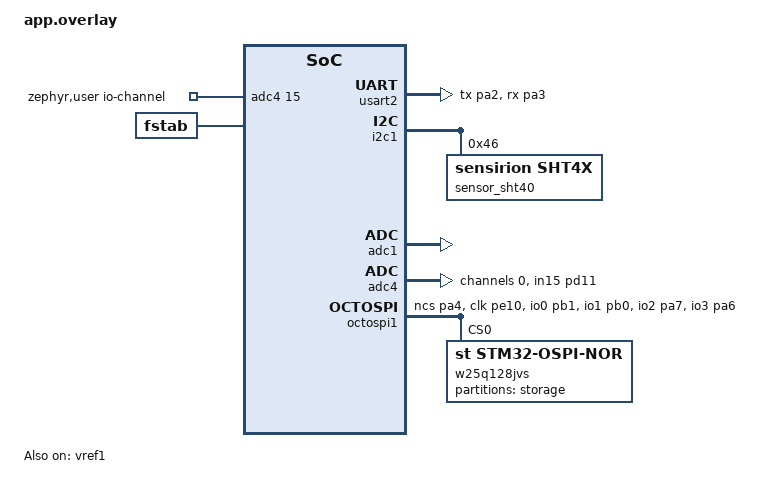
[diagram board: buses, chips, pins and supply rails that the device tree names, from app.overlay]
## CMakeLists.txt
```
cmake_minimum_required(VERSION 3.20.0)

set(BOARD_ROOT ${CMAKE_CURRENT_SOURCE_DIR})

set(BOARD stm32u575vgtx_custom)

set(EXTRA_CONF_FILE fs.conf)
#set(EXTRA_CONF_FILE usb.conf)
find_package(Zephyr)

project(hello_world)
include_directories(include)


target_sources(app PRIVATE 
    src/main.c
    src/sensor_sht40_test.c
    src/analog_temp_test.c
)
```

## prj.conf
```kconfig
#CONFIG_SERIAL_SUPPORT_ASYNC=y
#CONFIG_UART_STM32=y

CONFIG_LOG=y
CONFIG_CONSOLE=y
CONFIG_UART_STM32=y

CONFIG_UART_INTERRUPT_DRIVEN=y
CONFIG_UART_LINE_CTRL=y



CONFIG_SHELL=y
CONFIG_I2C=y
CONFIG_I2C_SHELL=y
CONFIG_SENSOR=y
CONFIG_CBPRINTF_FP_SUPPORT=y
CONFIG_SENSOR_LOG_LEVEL_DBG=y


CONFIG_ADC=y



CONFIG_REBOOT=y




# Configuring the devce flash

CONFIG_FLASH_STM32_OSPI=y
```

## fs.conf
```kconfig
CONFIG_LOG=y
CONFIG_SHELL=y
CONFIG_FLASH=y
CONFIG_FLASH_MAP=y
CONFIG_FILE_SYSTEM=y
CONFIG_FILE_SYSTEM_SHELL=y
CONFIG_FILE_SYSTEM_LITTLEFS=y

#CONFIG_SYSTEM_WORKQUEUE_STACK_SIZE=2304


# Enable file system commands
# CONFIG_MCUMGR_GRP_FS=y
CONFIG_FLASH_PAGE_LAYOUT=y
CONFIG_FS_LOG_LEVEL_DBG=y
CONFIG_HEAP_MEM_POOL_SIZE=16384
CONFIG_SHELL_LOG_LEVEL_INF=y
CONFIG_SHELL_LOG_LEVEL_DBG=y

CONFIG_DEBUG=y

CONFIG_FLASH_SHELL=y
CONFIG_FLASH_SHELL_TEST_COMMANDS=y
CONFIG_MPU_ALLOW_FLASH_WRITE=y
#CONFIG_APP_WIPE_STORAGE=y
```

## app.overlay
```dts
/ {

    chosen {
        //zephyr,console = &cdc_acm_uart0;
        //zephyr,shell-uart = &cdc_acm_uart0;

        zephyr,console = &usart2;
        zephyr,shell-uart= &usart2;



    };

    zephyr,user {
        io-channels = <&adc4 15>;
    };



    aliases {
        led0 = &blue_led_1;
        led1 = &green_led_1;
        led2 = &red_led_1;

    };

    fstab {
        compatible = "zephyr,fstab";
        status = "okay";
        lfs1: lfs1 {
            compatible = "zephyr,fstab,littlefs";
            status = "okay";
            read-size = <32>;
            prog-size = <32>;
            cache-size = <256>;
            lookahead-size = <64>;
            block-cycles = <512>;
            partition = <&storage_partition>;
            mount-point = "/lfs1";
            //automount;
        };
    };

};

&vref1 {
    status = "okay";
};

&zephyr_udc0 {
    status = "disabled";
    cdc_acm_uart0: cdc_acm_uart0_ {
        compatible = "zephyr,cdc-acm-uart";
    };
};

&i2c1_scl_pb6 {
    bias-pull-up;
};
&i2c1_sda_pb7 {
    bias-pull-up;
};


&usart2{
     status="okay";
     pinctrl-0 = <&usart2_tx_pa2>, <&usart2_rx_pa3>;

};

&i2c1 {
    status = "okay";

    sensor_sht40: sensor_sht40@44 {
        status = "okay";
        compatible = "sensirion,sht4x";
        reg = <0x46>;
        repeatability = <2>;
    };

};


&adc1 {
    status = "okay";
};
&adc4 {
    status = "okay";
    pinctrl-0 = <&adc4_in15_pd11>;
    #address-cells = <1>;
    #size-cells = <0>;
    channel@14 {
        reg = <0>;
        zephyr,gain = "ADC_GAIN_1";
        zephyr,reference = "ADC_REF_INTERNAL";
        //zephyr,vref-mv = <750>;
        zephyr,acquisition-time = <ADC_ACQ_TIME_DEFAULT>;
        zephyr,resolution = <12>;
        //zephyr,oversampling = <4>;
    };
};


&octospi1 {
    status = "okay";
    pinctrl-0 =<&octospim_p1_ncs_pa4
    &octospim_p1_clk_pe10
    &octospim_p1_io0_pb1
    &octospim_p1_io1_pb0
    &octospim_p1_io2_pa7
    &octospim_p1_io3_pa6>;
    
    pinctrl-names = "default";
    
    w25q128jvs: ospi-nor-flash@0 {
        compatible = "st,stm32-ospi-nor";
        reg = <0>;
        size = <DT_SIZE_M(64)>; /* 512 Mbits */
        data-rate = <OSPI_STR_TRANSFER>; /* access in DTR */
        ospi-max-frequency = <DT_FREQ_M(6)>;
        spi-bus-width=<OSPI_QUAD_MODE>;
        jedec-id= [ EF 40 17 ];
        status = "okay";
        //four-byte-opcodes;
        partitions {
            compatible = "fixed-partitions";
            #address-cells = <0x1>;
            #size-cells = <0x1>;
            storage_partition: partition@0 {
                label = "storage";
                reg = <0x0 DT_SIZE_K(20)>;
                /*phandle = <0x19>;*/
            };
        };
    };
};

/**OCTOSPI1 GPIO Configuration
PE10     ------> OCTOSPIM_P1_CLK
PA4     ------> OCTOSPIM_P1_NCS
PA6     ------> OCTOSPIM_P1_IO3
PA7     ------> OCTOSPIM_P1_IO2
PB0     ------> OCTOSPIM_P1_IO1
PB1     ------> OCTOSPIM_P1_IO0
 */
```

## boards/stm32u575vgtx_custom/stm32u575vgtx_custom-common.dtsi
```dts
/*
 * Copyright (c) 2021 Linaro Limited
 * Copyright (c) 2024 STMicroelectronics
 *
 * SPDX-License-Identifier: Apache-2.0
 */
#include <st/u5/stm32u575Xi.dtsi>
#include <st/u5/stm32u575vgtx-pinctrl.dtsi>
#include <zephyr/dt-bindings/input/input-event-codes.h>

/ {
	leds: leds {
		compatible = "gpio-leds";
		green_led_1: led_1 {
			gpios = <&gpiob 8 GPIO_ACTIVE_HIGH>;
			label = "User LD1";
		};
		blue_led_1: led_2 {
			gpios = <&gpiob 9 GPIO_ACTIVE_HIGH>;
			label = "User LD2";
		};
		red_led_1: led_3 {
			gpios = <&gpiob 10 GPIO_ACTIVE_HIGH>;
			label = "User LD3";
		};
	};

	gpio_keys {
		compatible = "gpio-keys";
		user_button: button {
			label = "User";
			gpios = <&gpioc 13 GPIO_ACTIVE_HIGH>;
			zephyr,code = <INPUT_KEY_0>;
		};
	};

	pwmleds: pwmleds {
		compatible = "pwm-leds";
		status = "disabled";

		pwm_led_1: green_led_1 {
			pwms = <&pwm3 2 PWM_MSEC(20) PWM_POLARITY_NORMAL>;
			label = "green led";
		};

		pwm_led_2: blue_led_1 {
			pwms = <&pwm4 2 PWM_MSEC(20) PWM_POLARITY_NORMAL>;
			label = "blue led";
		};
	};
};

&clk_hsi48 {
	status = "okay";
};

&clk_lse {
	status = "disabled";
};

&clk_msis {
	status = "okay";
	msi-range = <4>;
	msi-pll-mode;
};

&pll1 {
	div-m = <1>;
	mul-n = <80>;
	div-q = <2>;
	div-r = <2>;
	clocks = <&clk_msis>;
	status = "okay";
};

&rcc {
	clocks = <&pll1>;
	clock-frequency = <DT_FREQ_M(160)>;
	ahb-prescaler = <1>;
	apb1-prescaler = <1>;
	apb2-prescaler = <1>;
	apb3-prescaler = <1>;
};

&lpuart1 {
	pinctrl-0 = <&lpuart1_tx_pc1 &lpuart1_rx_pc0>;
	pinctrl-names = "default";
	current-speed = <115200>;
	status = "okay";
};

&usart2 {
	pinctrl-0 = <&usart2_tx_pd5 &usart2_rx_pd6>;
	pinctrl-names = "default";
	current-speed = <115200>;
	status = "okay";
};

&i2c1 {
	pinctrl-0 = <&i2c1_scl_pb6 &i2c1_sda_pb7>;
	pinctrl-names = "default";
	status = "okay";
	clock-frequency = <I2C_BITRATE_FAST>;
};

/*&i2c2 {
	pinctrl-0 = <&i2c2_scl_pf1 &i2c2_sda_pf0>;
	pinctrl-names = "default";
	status = "okay";
	clock-frequency = <I2C_BITRATE_FAST>;
};*/

&spi1 {
	pinctrl-0 = <&spi1_nss_pa4 &spi1_sck_pa5
		     &spi1_miso_pa6 &spi1_mosi_pa7>;
	pinctrl-names = "default";
	status = "okay";
};

&dac1 {
	/* CAUTION: DAC on PA4 may conflict with SPI1 NSS on same pin */
	pinctrl-0 = <&dac1_out1_pa4>;
	pinctrl-names = "default";
	status = "disabled";
};

&adc1 {
	pinctrl-0 = <&adc1_in1_pc0>;
	pinctrl-names = "default";
	//st,adc-clock-source = <ASYNC>;
	st,adc-prescaler = <4>;
	status = "disabled";
};

&adc4 {
	pinctrl-0 = <&adc4_in18_pb0>;
	pinctrl-names = "default";
	//st,adc-clock-source = <ASYNC>;
	st,adc-prescaler = <4>;
	status = "disabled";
};

&timers3 {
	st,prescaler = <10000>;
	status = "okay";

	pwm3: pwm {
	pinctrl-0 = <&tim3_ch2_pc7>;
		pinctrl-names = "default";
		status = "okay";
	};
};

&timers4 {
	st,prescaler = <10000>;
	status = "okay";

	pwm4: pwm {
		pinctrl-0 = <&tim4_ch2_pb7>;
		pinctrl-names = "default";
		status = "okay";
	};
};

&iwdg {
	status = "okay";
};

&rng {
	status = "okay";
};

zephyr_udc0: &usbotg_fs {
	pinctrl-0 = <&usb_otg_fs_dm_pa11 &usb_otg_fs_dp_pa12>;
	pinctrl-names = "default";
	status = "okay";
};

&fdcan1 {
	clocks = <&rcc STM32_CLOCK_BUS_APB1_2 0x00000200>,
		 <&rcc STM32_SRC_PLL1_Q FDCAN1_SEL(1)>;
	pinctrl-0 = <&fdcan1_rx_pd0 &fdcan1_tx_pd1>;
	pinctrl-names = "default";
	status = "disabled";
};

&rtc {
	clocks = <&rcc STM32_CLOCK_BUS_APB3 0x00200000>,
		 <&rcc STM32_SRC_LSE RTC_SEL(1)>;
	status = "okay";
};

&vref1 {
	status = "okay";
};

&vbat4 {
	status = "okay";
};

&clk_lsi {
	status = "okay";
};

stm32_lp_tick_source: &lptim1 {
	clocks = <&rcc STM32_CLOCK_BUS_APB3 0x00000800>,
		 <&rcc STM32_SRC_LSI LPTIM1_SEL(1)>;
	status = "okay";
};
```

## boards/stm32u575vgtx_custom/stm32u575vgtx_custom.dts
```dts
/*
 * Copyright (c) 2021 Linaro Limited
 *
 * SPDX-License-Identifier: Apache-2.0
 */

/dts-v1/;

#include "stm32u575vgtx_custom-common.dtsi"

/ {
	model = "STMicroelectronics STM32U575VGT6 MCU board";
	compatible = "st,stm32u575vgtx_custom";

	#address-cells = <1>;
	#size-cells = <1>;

	chosen {
		zephyr,console = &usart1;
		zephyr,shell-uart = &usart1;
		zephyr,sram = &sram0;
		zephyr,flash = &flash0;
		zephyr,canbus = &fdcan1;
	};

	aliases {
		led0 = &blue_led_1;
		sw0 = &user_button;
		pwm-led0 = &pwm_led_1;
		pwm-led1 = &pwm_led_2;
		watchdog0 = &iwdg;
		volt-sensor0 = &vref1;
		volt-sensor1 = &vbat4;
	};
};

&usart1 {
	pinctrl-0 = <&usart1_tx_pa9 &usart1_rx_pa10>;
	pinctrl-names = "default";
	current-speed = <115200>;
	status = "okay";
};

&gpdma1 {
	status = "okay";
};
```

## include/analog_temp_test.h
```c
#ifndef __ANALOG_TEMPERATURE_TEST__
#define __ANALOG_TEMPERATURE_TEST__

void analog_temp_test_init();
void analog_temp_test_loop();


#endif
```

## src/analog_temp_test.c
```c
#include"analog_temp_test.h"
#include<zephyr/kernel.h>
#include<zephyr/drivers/adc.h>
#include<zephyr/logging/log.h>
#include<zephyr/device.h>

#define ADC_GAIN (3300.0/4095.0)
#define V_T0 400 // 400mV for 0 degree
#define VOLTAGE_MV_TO_TEMP(v) (((ADC_GAIN*(v))-V_T0)/19.5)

LOG_MODULE_REGISTER(analog_sensor, LOG_LEVEL_DBG);

#define ADC_NODE DT_PHANDLE(DT_PATH(zephyr_user), io_channels)

#define ADC_CHANNEL_0 DT_IO_CHANNELS_INPUT_BY_IDX(DT_PATH(zephyr_user), 0)

const struct device * temp_adc_dev = DEVICE_DT_GET(ADC_NODE);
const struct adc_dt_spec temp_adc_ch = ADC_DT_SPEC_GET_BY_IDX(DT_PATH(zephyr_user), 0);

void analog_temp_test_init()
{
    if(!device_is_ready(temp_adc_dev)){
        LOG_ERR("Adc device is not ready ");
        return;
    }
    LOG_INF("The ADC device is ready");
    if(!adc_is_ready_dt(&temp_adc_ch)){
        LOG_ERR("ADC is not ready 2 ");
        return;
    }

    int err = adc_channel_setup_dt(&temp_adc_ch);
    if(err){
        LOG_ERR("Failed to setup the ADC channel : %d ", err);
        return ;
    }

   
}

void analog_temp_test_loop()
{
    int16_t buffer;
    struct adc_sequence sequence ={
        .buffer = &buffer, 
        .buffer_size= sizeof(buffer)
    };

    int err = adc_sequence_init_dt(&temp_adc_ch, &sequence);
    if(err<0){
        LOG_ERR("Error in reading the addc ");
        return;
    }
    LOG_INF("Seq initialized");

    err = adc_read_dt(&temp_adc_ch,&sequence);

    if(err<0){
        LOG_ERR("Could not read the ADC");
        return ;
    }

    LOG_INF("Analog result : %d", buffer);
    LOG_INF("Temperature : %.2f", VOLTAGE_MV_TO_TEMP(buffer));
    float temp = ((buffer*3300.0/4095.0)-400)/19.5 ;
    LOG_INF("Temperature : %.2f", temp);

}
```

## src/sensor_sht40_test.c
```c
#include<zephyr/kernel.h>
#include<zephyr/device.h>
#include<zephyr/drivers/sensor.h>
#include<sensor_sht40_test.h>
#include<zephyr/logging/log.h>


LOG_MODULE_REGISTER(sht40, LOG_LEVEL_DBG);

const struct device *const sensor_sht40_dev = DEVICE_DT_GET(DT_NODELABEL(sensor_sht40));


void sensor_sht40_init(){
    if(!device_is_ready(sensor_sht40_dev)){
        LOG_ERR("The sensor is not ready ");
        while(1){
            k_msleep(1000);
        }
    }

    LOG_INF("The sensor is ready");

}
void sensor_sht40_loop(){

    struct sensor_value temp ;
    struct sensor_value humid ;
    int ret ;

      if(sensor_sample_fetch(sensor_sht40_dev)!=0){
            LOG_ERR("Failed to take sample");
        }
        ret  = sensor_channel_get(sensor_sht40_dev, SENSOR_CHAN_AMBIENT_TEMP, &temp);
        if(ret==0){
          
            LOG_INF("Temperature : %.2f C", sensor_value_to_float(&temp));
        }
        ret = sensor_channel_get(sensor_sht40_dev, SENSOR_CHAN_HUMIDITY, &humid);
        if(ret==0){ 

            LOG_INF("Humidity : %.2f ", sensor_value_to_float(&humid));
        }

}
```
